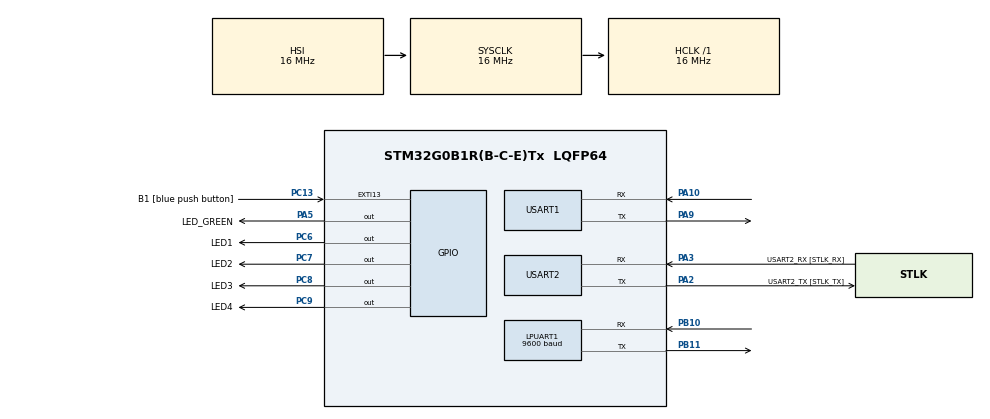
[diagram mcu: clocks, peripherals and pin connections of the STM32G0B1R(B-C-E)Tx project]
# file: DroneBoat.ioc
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LPUART1.BaudRate=9600
LPUART1.WordLength=UART_WORDLENGTH_8B
Mcu.Family=STM32G0
Mcu.Name=STM32G0B1R(B-C-E)Tx
Mcu.Package=LQFP64
NVIC.USART1_IRQn=true\:0\:0\:false\:false\:true\:true\:true\:true
NVIC.USART3_4_5_6_LPUART1_IRQn=true\:0\:0\:false\:false\:true\:true\:true\:true
PA10.Mode=Asynchronous
PA10.Signal=USART1_RX
PA13.GPIO_Label=TMS
PA13.Mode=Serial_Wire
PA13.Signal=SYS_SWDIO
PA14-BOOT0.GPIO_Label=TCK
PA14-BOOT0.Mode=Serial_Wire
PA14-BOOT0.Signal=SYS_SWCLK
PA2.GPIO_Label=USART2_TX [STLK_TX]
PA2.Mode=Asynchronous
PA2.Signal=USART2_TX
PA3.GPIO_Label=USART2_RX [STLK_RX]
PA3.Mode=Asynchronous
PA3.Signal=USART2_RX
PA5.GPIO_Label=LED_GREEN
PA5.GPIO_Speed=GPIO_SPEED_FREQ_HIGH
PA5.Signal=GPIO_Output
PA9.Mode=Asynchronous
PA9.Signal=USART1_TX
PB10.Mode=Asynchronous
PB10.Signal=LPUART1_RX
PB11.Mode=Asynchronous
PB11.Signal=LPUART1_TX
PC13.GPIO_Label=B1 [blue push button]
PC13.Signal=GPXTI13
PC14-OSC32_IN\ (PC14).Mode=LSE-External-Oscillator
PC14-OSC32_IN\ (PC14).Signal=RCC_OSC32_IN
PC15-OSC32_OUT\ (PC15).Mode=LSE-External-Oscillator
PC15-OSC32_OUT\ (PC15).Signal=RCC_OSC32_OUT
PC6.GPIO_Label=LED1
PC6.Signal=GPIO_Output
PC7.GPIO_Label=LED2
PC7.Signal=GPIO_Output
PC8.GPIO_Label=LED3
PC8.Signal=GPIO_Output
PC9.GPIO_Label=LED4
PC9.Signal=GPIO_Output
PF0-OSC_IN\ (PF0).GPIO_Label=MCO
PF0-OSC_IN\ (PF0).Mode=HSE-External-Clock-Source
PF0-OSC_IN\ (PF0).Signal=RCC_OSC_IN
ProjectManager.HeapSize=0x200
ProjectManager.StackSize=0x400
ProjectManager.TargetToolchain=STM32CubeIDE
RCC.AHBFreq_Value=16000000
RCC.CortexFreq_Value=16000000
RCC.EXTERNAL_CLOCK_VALUE=12288000
RCC.HCLKFreq_Value=16000000
RCC.HSE_VALUE=8000000
RCC.HSI48_VALUE=48000000
RCC.HSI_VALUE=16000000
RCC.SYSCLKFreq_VALUE=16000000
RCC.USBFreq_Value=48000000
RCC.VCOOutputFreq_Value=128000000
USART1.VirtualMode-Asynchronous=VM_ASYNC
USART2.VirtualMode-Asynchronous=VM_ASYNC
VP_SYS_VS_DBSignals.Mode=DisableDeadBatterySignals
board=NUCLEO-G0B1RE

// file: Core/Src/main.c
/* USER CODE BEGIN Header */
/**
  ******************************************************************************
  * @file           : main.c
  * @brief          : Main program body
  ******************************************************************************
  * @attention
  *
  * Copyright (c) 2025 STMicroelectronics.
  * All rights reserved.
  *
  * This software is licensed under terms that can be found in the LICENSE file
  * in the root directory of this software component.
  * If no LICENSE file comes with this software, it is provided AS-IS.
  *
  ******************************************************************************
  */
/* USER CODE END Header */
#include "main.h"
#include "usart.h"
#include "gpio.h"

/* USER CODE BEGIN Includes */
#include <stdio.h>
#include <stdlib.h>
#include <ctype.h>
#include <string.h>
/* USER CODE END Includes */

/* USER CODE BEGIN PD */
#define LBUF         128
#define GPS_LINE_MAX 128
#define LED_TEST_MODE 0
#define VERBOSE 1
/* USER CODE END PD */

/* USER CODE BEGIN PV */
static uint8_t  lora_rx_byte;
static char     lora_line[LBUF];
static volatile size_t  lora_len   = 0;
static volatile uint8_t lora_ready = 0;

static uint8_t  gps_rx_byte;
static volatile char    gps_line[GPS_LINE_MAX];
static volatile size_t  gps_lp     = 0;
static volatile uint8_t gps_ready  = 0;

static volatile uint8_t  gps_fix_valid = 0;
static volatile int32_t  gps_lat_e7    = 0;
static volatile int32_t  gps_lon_e7    = 0;
static volatile uint32_t gps_last_ms   = 0;
static volatile uint32_t gps_last_rx_ms= 0;
static volatile uint32_t gps_byte_count= 0;

static volatile uint8_t  op_mode = 1;
static volatile uint32_t led3_pulse_until = 0;

static uint32_t last_tx = 0;
/* USER CODE END PV */

void SystemClock_Config(void);

/* USER CODE BEGIN PFP */
static void StartLoRaRxIT(void);
static void StartGPSRxIT(void);
static int  gps_validate_checksum(const char* s);
static int  gps_parse_ddmm_to_e7(const char* ddmm, const char* hemi, int32_t* out_e7);
static void gps_parse_rmc(char* buf);
static void gps_task(uint32_t now_ms);

static void dbg(const char *s);
static void vdbg(const char *s);
static void lora_send_line(const char* s);
static int  lora_wait_line(uint32_t timeout_ms);
static int  lora_cmd_expect_ok(const char* cmd, uint32_t timeout_ms);
static void lora_send_gps_e7(int32_t lat_e7, int32_t lon_e7);

static void     lora_set_baud(uint32_t baud);
static int      lora_probe_at(uint32_t timeout_ms);
static uint32_t lora_autobaud(void);

static int  lora_line_means_ok(const char* s);
static int  lora_line_means_err(const char* s);

static void leds_all_off(void);
static void leds_boot_chase(void);
static void leds_apply_cmd(uint8_t cmd);

static void     gps_set_baud(uint32_t baud);
static uint32_t gps_autobaud(uint32_t ms_total);
/* USER CODE END PFP */

/* USER CODE BEGIN 0 */
static void dbg(const char *s)
{
  HAL_UART_Transmit(&huart2, (uint8_t*)s, strlen(s), HAL_MAX_DELAY);
}
static void vdbg(const char *s)
{
#if VERBOSE
  HAL_UART_Transmit(&huart2, (uint8_t*)s, strlen(s), HAL_MAX_DELAY);
#endif
}

static void StartLoRaRxIT(void) { HAL_UART_Receive_IT(&huart1, &lora_rx_byte, 1); }
static void StartGPSRxIT(void)  { HAL_UART_Receive_IT(&hlpuart1, &gps_rx_byte, 1); }

static void leds_all_off(void)
{
  HAL_GPIO_WritePin(LED1_GPIO_Port, LED1_Pin, GPIO_PIN_RESET);
  HAL_GPIO_WritePin(LED2_GPIO_Port, LED2_Pin, GPIO_PIN_RESET);
  HAL_GPIO_WritePin(LED3_GPIO_Port, LED3_Pin, GPIO_PIN_RESET);
  HAL_GPIO_WritePin(LED4_GPIO_Port, LED4_Pin, GPIO_PIN_RESET);
}

static void leds_boot_chase(void)
{
  leds_all_off();
  HAL_GPIO_WritePin(LED1_GPIO_Port, LED1_Pin, GPIO_PIN_SET); HAL_Delay(150); leds_all_off();
  HAL_GPIO_WritePin(LED2_GPIO_Port, LED2_Pin, GPIO_PIN_SET); HAL_Delay(150); leds_all_off();
  HAL_GPIO_WritePin(LED3_GPIO_Port, LED3_Pin, GPIO_PIN_SET); HAL_Delay(150); leds_all_off();
  HAL_GPIO_WritePin(LED4_GPIO_Port, LED4_Pin, GPIO_PIN_SET); HAL_Delay(150); leds_all_off();
}

static void leds_apply_cmd(uint8_t cmd)
{
  if(cmd == 0){ leds_all_off(); vdbg("LED SET:0\r\n"); return; }
  leds_all_off();
  switch(cmd){
    case 1: HAL_GPIO_WritePin(LED1_GPIO_Port, LED1_Pin, GPIO_PIN_SET); break;
    case 2: HAL_GPIO_WritePin(LED2_GPIO_Port, LED2_Pin, GPIO_PIN_SET); break;
    case 3: HAL_GPIO_WritePin(LED3_GPIO_Port, LED3_Pin, GPIO_PIN_SET); break;
    case 4: HAL_GPIO_WritePin(LED4_GPIO_Port, LED4_Pin, GPIO_PIN_SET); break;
    default: break;
  }
  char s[16]; int n=snprintf(s,sizeof(s),"LED SET:%u\r\n",cmd); if(n>0) vdbg(s);
}

static int gps_validate_checksum(const char* s)
{
  if(!s || s[0]!='$') return 0;
  const char* star = strrchr(s, '*');
  if(!star || star - s < 2) return 0;
  uint8_t x = 0;
  for(const char* p=s+1; p<star; ++p) x ^= (uint8_t)(*p);
  if(!isxdigit((unsigned char)star[1]) || !isxdigit((unsigned char)star[2])) return 0;
  uint8_t h = (uint8_t)((star[1]>='A'&&star[1]<='F') ? 10+star[1]-'A' : (star[1]>='a'&&star[1]<='f') ? 10+star[1]-'a' : star[1]-'0');
  uint8_t l = (uint8_t)((star[2]>='A'&&star[2]<='F') ? 10+star[2]-'A' : (star[2]>='a'&&star[2]<='f') ? 10+star[2]-'a' : star[2]-'0');
  uint8_t want = (uint8_t)((h<<4)|l);
  return x == want;
}

static int gps_parse_ddmm_to_e7(const char* ddmm, const char* hemi, int32_t* out_e7)
{
  if(!ddmm || !*ddmm || !out_e7) return 0;
  double v = atof(ddmm);
  int deg = (int)(v / 100.0);
  double minutes = v - (deg * 100.0);
  double degs = deg + minutes / 60.0;
  if(hemi && (*hemi=='S' || *hemi=='W')) degs = -degs;
  long long e7 = (long long)(degs * 1e7);
  if(e7 >  2147483647LL) e7 =  2147483647LL;
  if(e7 < -2147483648LL) e7 = -2147483648LL;
  *out_e7 = (int32_t)e7;
  return 1;
}

static void gps_parse_rmc(char* buf)
{
  if(!gps_validate_checksum(buf)) return;
  for(char* q=buf; *q; ++q) if(*q=='\r'||*q=='\n') *q=0;
  const char* toks[16]={0}; int nt=0;
  for(char* t = strtok(buf, ","); t && nt<16; t=strtok(NULL, ",")) toks[nt++]=t;
  if(nt < 7) return;
  if(strncmp(toks[0], "$GPRMC", 6)!=0 && strncmp(toks[0], "$GNRMC", 6)!=0) return;

  const char* status = toks[2];
  const char* lat    = toks[3];
  const char* hemiNS = toks[4];
  const char* lon    = toks[5];
  const char* hemiEW = toks[6];
  if(!status || (*status!='A' && *status!='a')) { gps_fix_valid = 0; vdbg("GPS NOFIX\r\n"); return; }

  int32_t lat_e7=0, lon_e7=0;
  if(!gps_parse_ddmm_to_e7(lat, hemiNS, &lat_e7)) return;
  if(!gps_parse_ddmm_to_e7(lon, hemiEW, &lon_e7)) return;

  gps_fix_valid = 1;
  gps_lat_e7 = lat_e7;
  gps_lon_e7 = lon_e7;
  gps_last_ms = HAL_GetTick();

  if(VERBOSE){
    char line[64];
    int n = snprintf(line, sizeof(line), "GPS COORD,%ld,%ld\r\n", (long)gps_lat_e7, (long)gps_lon_e7);
    if(n>0) vdbg("GPS FIX\r\n");
    if(n>0) vdbg(line);
  }

  if (op_mode == 0)
  {
    char line2[40];
    int n2 = snprintf(line2, sizeof(line2), "%ld,%ld\r\n", (long)gps_lat_e7, (long)gps_lon_e7);
    if(n2>0) dbg(line2);
  }
}

static void gps_task(uint32_t now_ms){
  (void)now_ms;
  if(gps_ready)
  {
    char buf[GPS_LINE_MAX];
    size_t i=0;
    while(i<GPS_LINE_MAX-1)
    {
      char c = ((volatile char*)gps_line)[i];
      buf[i]=c; if(!c) break; i++;
    }
    buf[GPS_LINE_MAX-1]=0;
    gps_last_rx_ms = HAL_GetTick();

    if(strncmp(buf, "$GPRMC", 6)==0 || strncmp(buf, "$GNRMC", 6)==0)
    {
      if(VERBOSE){ vdbg("GPS << RMC "); vdbg(buf); vdbg("\r\n"); }
      gps_parse_rmc(buf);
    }
    gps_ready = 0;
  }
}

static void lora_send_line(const char* s)
{
  HAL_UART_Transmit(&huart1, (uint8_t*)s, strlen(s), HAL_MAX_DELAY);
  HAL_UART_Transmit(&huart1, (uint8_t*)"\r\n", 2, HAL_MAX_DELAY);
}

static int lora_wait_line(uint32_t timeout_ms)
{
  uint32_t t0 = HAL_GetTick();
  while((HAL_GetTick() - t0) < timeout_ms){
    if(lora_ready){
      lora_ready = 0;
      return 1;
    }
    HAL_Delay(1);
  }
  return 0;
}

static int lora_line_means_ok(const char* s)
{
  return s && (
      strstr(s, "OK")       || strstr(s, "+OK")     ||
      strstr(s, "OK+SEND")  || strstr(s, "OK+SENT") ||
      strstr(s, "SENT")     || strstr(s, "SENDED")  ||
      strstr(s, "SEND OK")
  );
}
static int lora_line_means_err(const char* s)
{
  return s && (strstr(s, "ERROR") || strstr(s, "ERR"));
}

static int lora_cmd_expect_ok(const char* cmd, uint32_t timeout_ms){
  lora_len = 0; lora_ready = 0;
  if(VERBOSE){ vdbg("LORA << "); vdbg(cmd); vdbg("\r\n"); }
  lora_send_line(cmd);
  uint32_t t0 = HAL_GetTick();
  while((HAL_GetTick() - t0) < timeout_ms)
  {
    if(lora_wait_line(50))
    {
      if(VERBOSE){ vdbg("LORA >> "); vdbg(lora_line); vdbg("\r\n"); }
      if (lora_line_means_ok(lora_line)) { return 1; }
      if (lora_line_means_err(lora_line)) { return -1; }
      lora_len = 0;
    }
  }
  if(VERBOSE){ vdbg("LORA >> (timeout)\r\n"); }
  return 0;
}

static void lora_send_gps_e7(int32_t lat_e7, int32_t lon_e7)
{
  char payload[64];
  int pn = snprintf(payload, sizeof(payload), "GPS,%ld,%ld", (long)lat_e7, (long)lon_e7);
  if(pn <= 0) return;
  char cmd[96];
  int cn = snprintf(cmd, sizeof(cmd), "AT+SEND=0,%d,%s", pn, payload);
  if(cn > 0)
  {
    if(VERBOSE){ vdbg("LORA TX: "); vdbg(payload); vdbg("\r\n"); }
    int r = lora_cmd_expect_ok(cmd, 5000);
    if(VERBOSE){
      if     (r > 0)  vdbg("LORA SEND: OK\r\n");
      else if(r < 0)  vdbg("LORA SEND: ERROR\r\n");
      else            vdbg("LORA SEND: TIMEOUT\r\n");
    }
  }
}

static void lora_set_baud(uint32_t baud)
{
  HAL_UART_DeInit(&huart1);
  huart1.Init.BaudRate = baud;
  if (HAL_UART_Init(&huart1) != HAL_OK) { Error_Handler(); }
  StartLoRaRxIT();
}

static int lora_probe_at(uint32_t timeout_ms)
{
  lora_len = 0; lora_ready = 0;
  HAL_Delay(30);
  HAL_UART_Transmit(&huart1, (uint8_t*)"AT\r\n", 4, HAL_MAX_DELAY);
  uint32_t t0 = HAL_GetTick();
  while((HAL_GetTick() - t0) < timeout_ms)
  {
    if(lora_ready)
    {
      if (lora_line_means_ok(lora_line)) { lora_ready=0; return 1; }
      lora_ready = 0;
    }
  }
  return 0;
}

static uint32_t lora_autobaud(void)
{
  const uint32_t bauds[] = {115200, 57600, 38400, 19200, 9600};
  for (unsigned i=0;i<sizeof(bauds)/sizeof(bauds[0]);++i)
  {
    lora_set_baud(bauds[i]);
    if (lora_probe_at(500))
    {
      char line[48];
      int n = snprintf(line, sizeof(line), "LORA: baud=%lu\r\n", (unsigned long)bauds[i]);
      if(n>0) vdbg(line);
      return bauds[i];
    }
  }
  vdbg("LORA: no AT response\r\n");
  return 0;
}

static void gps_set_baud(uint32_t baud)
{
  HAL_UART_DeInit(&hlpuart1);
  hlpuart1.Init.BaudRate = baud;
  if (HAL_UART_Init(&hlpuart1) != HAL_OK) { Error_Handler(); }
  StartGPSRxIT();
}

static uint32_t gps_autobaud(uint32_t ms_total)
{
  const uint32_t bauds[] = {9600, 4800, 38400, 57600, 115200};
  uint32_t start = HAL_GetTick();
  for (unsigned i=0;i<sizeof(bauds)/sizeof(bauds[0]);++i)
  {
    gps_set_baud(bauds[i]);
    gps_byte_count = 0;
    uint32_t t0 = HAL_GetTick();
    while ((HAL_GetTick() - t0) < 700)
    {
      if (gps_ready || gps_byte_count >= 10) {
        char line[48];
        int n = snprintf(line, sizeof(line), "GPS: baud=%lu\r\n", (unsigned long)bauds[i]);
        if(n>0) vdbg(line);
        return bauds[i];
      }
    }
    if ((HAL_GetTick() - start) > ms_total) break;
  }
  vdbg("GPS: no data\r\n");
  return 0;
}
/* USER CODE END 0 */

int main(void)
{

  HAL_Init();

  SystemClock_Config();

  MX_GPIO_Init();
  MX_USART2_UART_Init();
  MX_LPUART1_UART_Init();
  MX_USART1_UART_Init();
  StartLoRaRxIT();
  StartGPSRxIT();
#if VERBOSE
  vdbg("FW v1.0 " __DATE__ " " __TIME__ "\r\n");
#endif
  lora_autobaud();
  gps_autobaud(3000);
  if (LED_TEST_MODE) {
    HAL_GPIO_WritePin(LED1_GPIO_Port, LED1_Pin, GPIO_PIN_SET);
    HAL_GPIO_WritePin(LED2_GPIO_Port, LED2_Pin, GPIO_PIN_SET);
    HAL_GPIO_WritePin(LED3_GPIO_Port, LED3_Pin, GPIO_PIN_SET);
    HAL_GPIO_WritePin(LED4_GPIO_Port, LED4_Pin, GPIO_PIN_SET);
    while (1) { HAL_Delay(1000); }
  }
  leds_boot_chase();
  leds_apply_cmd(0);

  uint32_t last_blink = 0;
  uint32_t led_hb = 0;

  while (1)
  {
    uint32_t now = HAL_GetTick();

    gps_task(now);

    if (gps_fix_valid && (now - last_tx) > 5000)
    {
      last_tx = now;
      lora_send_gps_e7(gps_lat_e7, gps_lon_e7);
    }

    if (op_mode == 0)
    {
      if (gps_fix_valid) { HAL_GPIO_WritePin(LED1_GPIO_Port, LED1_Pin, GPIO_PIN_SET); }
      else               { HAL_GPIO_WritePin(LED1_GPIO_Port, LED1_Pin, GPIO_PIN_RESET); }

      if ((now - gps_last_rx_ms) > 1000)
      {
        if ((now - last_blink) > 500) { last_blink = now; HAL_GPIO_TogglePin(LED2_GPIO_Port, LED2_Pin); }
      }
      else
      {
        HAL_GPIO_WritePin(LED2_GPIO_Port, LED2_Pin, GPIO_PIN_RESET);
      }

      if ((now - led_hb) > 250) { led_hb = now; HAL_GPIO_TogglePin(LED4_GPIO_Port, LED4_Pin); }
    }
    else
    {
      HAL_GPIO_WritePin(LED1_GPIO_Port, LED1_Pin, GPIO_PIN_RESET);
      HAL_GPIO_WritePin(LED2_GPIO_Port, LED2_Pin, GPIO_PIN_RESET);
      HAL_GPIO_WritePin(LED4_GPIO_Port, LED4_Pin, GPIO_PIN_RESET);
    }

    if (led3_pulse_until)
    {
      if (now >= led3_pulse_until) { led3_pulse_until = 0; HAL_GPIO_WritePin(LED3_GPIO_Port, LED3_Pin, GPIO_PIN_RESET); }
    }

    if(lora_ready)
    {
      lora_ready = 0;
      char buf[LBUF]; size_t n=0;
      while(n<LBUF-1){ char c=lora_line[n]; buf[n]=c; if(!c) break; n++; }
      buf[LBUF-1]=0;

      if(VERBOSE){ vdbg("LORA RX: "); vdbg(buf); vdbg("\r\n"); }

      if(!strncmp(buf,"MODE=0",6)) { op_mode = 0; if(VERBOSE) vdbg("MODE:0\r\n"); }
      else if(!strncmp(buf,"MODE=1",6)) { op_mode = 1; if(VERBOSE) vdbg("MODE:1\r\n"); leds_all_off(); led3_pulse_until = 0; HAL_GPIO_WritePin(LED3_GPIO_Port, LED3_Pin, GPIO_PIN_RESET); HAL_GPIO_WritePin(LED4_GPIO_Port, LED4_Pin, GPIO_PIN_RESET); }
      else
      {
        int cmd=-1;
        for(char* p=buf; *p; ++p){ if(isdigit((unsigned char)*p)){ cmd = (*p - '0'); break; } }
        if(op_mode==1)
        {
          if(cmd>=0 && cmd<=4){ leds_apply_cmd((uint8_t)cmd); }
          else { vdbg("LED CMD:IGNORED\r\n"); }
        }
        else
        {
          if(cmd==0){ leds_all_off(); vdbg("LED SET:0\r\n"); }
        }
      }
    }
  }
}

void SystemClock_Config(void)
{
  RCC_OscInitTypeDef RCC_OscInitStruct = {0};
  RCC_ClkInitTypeDef RCC_ClkInitStruct = {0};

  HAL_PWREx_ControlVoltageScaling(PWR_REGULATOR_VOLTAGE_SCALE1);

  RCC_OscInitStruct.OscillatorType = RCC_OSCILLATORTYPE_HSI;
  RCC_OscInitStruct.HSIState = RCC_HSI_ON;
  RCC_OscInitStruct.HSIDiv = RCC_HSI_DIV1;
  RCC_OscInitStruct.HSICalibrationValue = RCC_HSICALIBRATION_DEFAULT;
  RCC_OscInitStruct.PLL.PLLState = RCC_PLL_NONE;
  if (HAL_RCC_OscConfig(&RCC_OscInitStruct) != HAL_OK) { Error_Handler(); }

  RCC_ClkInitStruct.ClockType = RCC_CLOCKTYPE_HCLK | RCC_CLOCKTYPE_SYSCLK | RCC_CLOCKTYPE_PCLK1;
  RCC_ClkInitStruct.SYSCLKSource = RCC_SYSCLKSOURCE_HSI;
  RCC_ClkInitStruct.AHBCLKDivider = RCC_SYSCLK_DIV1;
  RCC_ClkInitStruct.APB1CLKDivider = RCC_HCLK_DIV1;
  if (HAL_RCC_ClockConfig(&RCC_ClkInitStruct, FLASH_LATENCY_0) != HAL_OK) { Error_Handler(); }
}

/* USER CODE BEGIN 4 */
void HAL_UART_RxCpltCallback(UART_HandleTypeDef *huart)
{
  if(huart == &huart1)
  {
    char c = (char)lora_rx_byte;
    if(!lora_ready)
    {
      if(c=='\n' || c=='\r')
      {
        if(lora_len>0){ lora_line[lora_len]=0; lora_ready=1; lora_len=0; }
      }
      else if(lora_len < LBUF-1)
      {
        lora_line[lora_len++] = c;
      }
      else
      {
        lora_len = 0;
      }
    }
    StartLoRaRxIT();
  }
  else if(huart == &hlpuart1)
  {
    char c = (char)gps_rx_byte;
    gps_byte_count++;
    if(!gps_ready)
    {
      if(gps_lp == 0){
        if(c == '$'){ ((volatile char*)gps_line)[gps_lp++] = c; }
      } else {
        if(c=='\n' || c=='\r')
        {
          ((volatile char*)gps_line)[gps_lp]=0; gps_ready=1; gps_lp=0;
          if (op_mode == 0) { led3_pulse_until = HAL_GetTick() + 120; HAL_GPIO_WritePin(LED3_GPIO_Port, LED3_Pin, GPIO_PIN_SET); }
        }
        else if(gps_lp < GPS_LINE_MAX-1)
        {
          ((volatile char*)gps_line)[gps_lp++] = c;
        }
        else
        {
          gps_lp = 0;
        }
      }
    }
    StartGPSRxIT();
  }
}
/* USER CODE END 4 */

void Error_Handler(void)
{
  __disable_irq();
  while (1)
  {
  }
}
